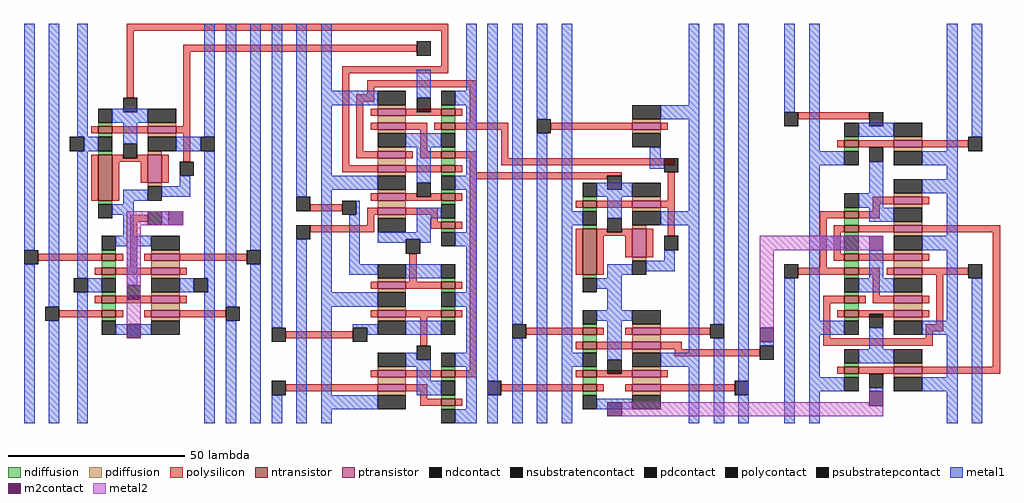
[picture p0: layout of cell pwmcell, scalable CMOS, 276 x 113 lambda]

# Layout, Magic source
magic
tech scmos
<< polysilicon >>
rect 35 120 126 122
rect 35 101 37 120
rect 51 114 117 116
rect 51 93 53 114
rect 124 110 126 120
rect 96 108 126 110
rect 96 82 98 108
rect 134 92 143 94
rect 141 84 143 92
rect 141 82 190 84
rect 96 80 104 82
rect 134 79 175 80
rect 134 78 171 79
rect 262 63 282 65
rect 188 30 192 32
rect 190 28 214 30
rect 280 25 282 63
rect 262 23 282 25
<< metal1 >>
rect 6 98 9 122
rect 13 98 16 122
rect 21 98 24 122
rect 57 98 60 122
rect 63 98 66 122
rect 70 98 73 122
rect 76 106 79 122
rect 83 106 86 122
rect 90 106 93 122
rect 117 101 121 109
rect 131 106 134 122
rect 137 99 140 122
rect 144 99 147 122
rect 151 99 154 122
rect 158 99 161 122
rect 194 99 197 122
rect 201 99 204 122
rect 208 99 211 122
rect 221 97 224 122
rect 228 97 231 122
rect 267 97 270 122
rect 274 97 277 122
rect 6 9 9 34
rect 13 9 16 34
rect 21 9 24 34
rect 57 9 60 34
rect 63 9 66 34
rect 70 9 73 34
rect 214 31 218 32
rect 137 9 140 31
rect 144 9 147 31
rect 151 9 154 31
rect 158 9 161 31
rect 194 9 197 31
rect 201 9 204 31
rect 208 9 211 31
rect 221 9 224 31
rect 228 22 231 31
rect 245 29 249 36
rect 228 18 238 22
rect 267 22 270 31
rect 245 18 249 19
rect 260 18 270 22
rect 228 9 231 18
rect 267 9 270 18
rect 274 9 277 31
<< metal2 >>
rect 35 65 51 69
rect 35 37 39 65
rect 214 58 249 62
rect 214 36 218 58
rect 175 14 245 15
rect 175 11 249 14
<< polycontact >>
rect 34 97 38 101
rect 117 113 121 117
rect 117 97 121 101
rect 171 75 175 79
rect 245 36 249 40
rect 214 27 218 31
rect 245 19 249 23
<< m2contact >>
rect 35 33 39 37
rect 214 32 218 36
rect 171 11 175 15
rect 245 14 249 18
use regbit  regbit_0
transform 1 0 29 0 -1 69
box -23 -29 44 36
use cmpbit  cmpbit_0
transform -1 0 134 0 1 75
box 0 -66 58 31
use pwmaccumbit  pwmaccumbit_0
transform 1 0 181 0 -1 34
box -44 -65 30 21
use incbit  incbit_0
transform 1 0 232 0 -1 62
box -11 -35 45 31
use inverter  inverter_0
transform 0 1 231 1 0 23
box -5 5 7 31
<< end >>

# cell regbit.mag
magic
tech scmos
<< polysilicon >>
rect -13 28 -3 30
rect 23 28 34 30
rect 7 25 9 26
rect -19 12 -3 14
rect 7 3 9 18
rect 23 12 40 14
rect 7 1 12 3
<< metal1 >>
rect -23 15 -20 35
rect -16 31 -13 35
rect -23 -29 -20 11
rect -16 -29 -13 27
rect -8 23 -5 35
rect 6 32 10 36
rect -5 19 -1 23
rect 28 23 31 35
rect -8 -17 -5 19
rect 6 10 9 21
rect 21 19 25 23
rect 29 19 31 23
rect 5 7 9 10
rect 5 1 8 7
rect 16 0 18 4
rect 28 -17 31 19
rect -6 -21 -2 -17
rect 26 -21 27 -17
rect -8 -29 -5 -21
rect 28 -29 31 -21
rect 34 31 37 35
rect 34 -29 37 27
rect 41 15 44 35
rect 41 -29 44 11
<< polycontact >>
rect -17 27 -13 31
rect 34 27 38 31
rect 6 21 10 25
rect -23 11 -19 15
rect 40 11 44 15
rect 12 0 16 4
<< m2contact >>
rect 18 0 22 4
<< psubstratepcontact >>
rect -9 19 -5 23
rect -10 -21 -6 -17
<< nsubstratencontact >>
rect 25 19 29 23
rect 27 -21 31 -17
use latch  outlatch
transform 0 1 -1 1 0 25
box -6 -2 10 24
use latch  inlatch
transform 0 1 -1 -1 0 17
box -6 -2 10 24
use staticizer  staticizer_0
transform 0 1 -6 -1 0 -17
box -19 2 12 32
<< labels >>
rlabel m2contact 18 0 22 4 1 in
rlabel metal1 6 32 10 36 5 out
rlabel metal1 -8 32 -5 35 5 GND
rlabel metal1 28 32 31 35 5 Vdd
rlabel metal1 34 32 37 35 5 r_
rlabel metal1 41 32 44 35 6 w_
rlabel metal1 -23 32 -20 35 4 w
rlabel metal1 -16 32 -13 35 5 r
<< end >>

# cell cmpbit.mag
magic
tech scmos
<< polysilicon >>
rect 14 29 16 31
rect 14 21 16 23
rect 28 17 30 19
rect 0 9 4 11
rect 0 -51 2 9
rect 28 5 30 7
rect 4 -3 6 -1
rect 10 -2 13 -1
rect 17 -2 20 -1
rect 10 -3 20 -2
rect 28 -3 30 -1
rect 11 -7 20 -5
rect 28 -7 31 -5
rect 38 -6 47 -4
rect 11 -9 13 -7
rect 4 -11 6 -9
rect 10 -11 13 -9
rect 29 -10 31 -7
rect 29 -12 47 -10
rect 17 -26 19 -18
rect 14 -44 16 -36
rect 35 -42 54 -40
rect 0 -53 6 -51
rect 10 -53 20 -51
rect 28 -53 30 -51
rect 14 -57 20 -55
rect 28 -57 54 -55
rect 14 -59 16 -57
rect 4 -61 6 -59
rect 10 -61 16 -59
<< ndiffusion >>
rect 6 -1 10 0
rect 6 -4 10 -3
rect 6 -9 10 -8
rect 6 -12 10 -11
rect 6 -51 10 -50
rect 6 -54 10 -53
rect 6 -59 10 -58
rect 6 -62 10 -61
<< pdiffusion >>
rect 20 -1 28 0
rect 20 -5 28 -3
rect 20 -8 28 -7
rect 20 -51 28 -50
rect 20 -55 28 -53
rect 20 -58 28 -57
<< metal1 >>
rect 0 28 3 31
rect 41 28 44 31
rect 0 24 6 28
rect 28 24 44 28
rect 0 4 3 24
rect 0 0 6 4
rect 13 2 17 12
rect 41 4 44 24
rect 0 -12 3 0
rect 28 0 44 4
rect 10 -8 17 -5
rect 33 -7 34 -3
rect 13 -12 17 -8
rect 0 -16 6 -12
rect 13 -14 28 -12
rect 13 -15 16 -14
rect 0 -29 3 -16
rect 20 -15 28 -14
rect 33 -21 36 -7
rect 28 -24 36 -21
rect 41 -29 44 0
rect 48 -2 51 31
rect 0 -33 6 -29
rect 28 -33 44 -29
rect 0 -46 3 -33
rect 28 -39 35 -38
rect 28 -41 31 -39
rect 0 -50 6 -46
rect 17 -48 20 -46
rect 13 -50 20 -48
rect 0 -62 3 -50
rect 13 -54 17 -50
rect 10 -58 17 -54
rect 41 -58 44 -33
rect 28 -62 44 -58
rect 0 -66 6 -62
rect 41 -66 44 -62
rect 48 -66 51 -14
rect 55 -39 58 31
rect 55 -66 58 -58
<< ntransistor >>
rect 6 -3 10 -1
rect 6 -11 10 -9
rect 6 -53 10 -51
rect 6 -61 10 -59
<< ptransistor >>
rect 20 -3 28 -1
rect 20 -7 28 -5
rect 20 -53 28 -51
rect 20 -57 28 -55
<< polycontact >>
rect 13 -2 17 2
rect 34 -7 38 -3
rect 47 -6 51 -2
rect 47 -14 51 -10
rect 16 -18 20 -14
rect 31 -43 35 -39
rect 54 -43 58 -39
rect 13 -48 17 -44
rect 54 -58 58 -54
<< ndcontact >>
rect 6 0 10 4
rect 6 -8 10 -4
rect 6 -16 10 -12
rect 6 -50 10 -46
rect 6 -58 10 -54
rect 6 -66 10 -62
<< pdcontact >>
rect 20 -12 28 -8
rect 20 -50 28 -46
rect 20 -62 28 -58
use xor  xor_0
transform 1 0 6 0 1 0
box -6 0 28 31
use inverter  inverter_0
transform 0 1 -1 1 0 -28
box -5 5 7 31
use inverter  inverter_1
transform 0 1 -1 -1 0 -34
box -5 5 7 31
<< labels >>
rlabel metal1 0 28 3 31 4 GND
rlabel metal1 41 28 44 31 5 Vdd
rlabel metal1 48 28 51 31 5 eqout_
rlabel metal1 55 28 58 31 6 zout_
rlabel metal1 55 -66 58 -63 8 zin_
rlabel metal1 48 -66 51 -63 1 eqin_
rlabel polysilicon 15 30 15 30 5 cnt_
rlabel polysilicon 29 18 29 18 1 cnt
rlabel polysilicon 15 22 15 22 1 cmp_
rlabel polysilicon 29 6 29 6 1 cmp
<< end >>

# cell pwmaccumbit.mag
magic
tech scmos
<< polysilicon >>
rect -40 14 -19 16
rect 7 14 26 16
rect 5 2 7 4
rect -33 -2 -19 0
rect 7 -2 19 0
rect 7 -46 9 -38
rect -26 -60 -3 -58
rect 5 -60 7 -58
<< pdiffusion >>
rect -3 -58 5 -57
rect -3 -61 5 -60
<< metal1 >>
rect -44 17 -41 21
rect -44 -65 -41 13
rect -37 1 -34 21
rect -37 -65 -34 -3
rect -30 -57 -27 21
rect -23 9 -20 21
rect -9 18 -7 21
rect -23 5 -17 9
rect 13 9 16 21
rect -23 -31 -20 5
rect -10 -20 -6 7
rect 5 5 16 9
rect 6 -21 9 -18
rect 13 -31 16 5
rect 20 1 23 21
rect 27 17 30 21
rect -23 -35 -17 -31
rect 11 -35 16 -31
rect -30 -65 -27 -61
rect -23 -65 -20 -35
rect -10 -43 -6 -39
rect 2 -50 6 -47
rect 2 -53 5 -50
rect 13 -61 16 -35
rect 5 -65 16 -61
rect 20 -65 23 -3
rect 27 -65 30 13
<< ptransistor >>
rect -3 -60 5 -58
<< polycontact >>
rect -44 13 -40 17
rect 26 13 30 17
rect -10 7 -6 11
rect -37 -3 -33 1
rect 19 -3 23 1
rect 6 -50 10 -46
rect -30 -61 -26 -57
<< pdcontact >>
rect -3 -57 5 -53
rect -3 -65 5 -61
use latch  latch_1
transform 0 1 -17 1 0 11
box -6 -2 10 24
use latch  latch_0
transform 0 1 -17 -1 0 3
box -6 -2 10 24
use staticizer  staticizer_0
transform 0 1 -21 -1 0 -31
box -19 2 12 32
<< labels >>
rlabel metal1 -10 -43 -6 -39 1 cnt
rlabel metal1 -9 18 -7 21 5 out
rlabel polysilicon 5 2 7 4 7 in
rlabel metal1 -23 18 -20 21 5 GND
rlabel metal1 13 18 16 21 5 Vdd
rlabel metal1 20 18 23 21 5 w_
rlabel metal1 -30 18 -27 21 5 reset
rlabel metal1 -37 18 -34 21 5 w
rlabel metal1 -44 18 -41 21 4 r
rlabel metal1 27 18 30 21 6 r_
rlabel metal1 6 -21 9 -18 1 cnt_
<< end >>

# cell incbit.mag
magic
tech scmos
<< polysilicon >>
rect 14 21 16 23
rect -7 9 4 11
rect 32 9 41 11
rect -1 -5 1 9
rect 3 -1 5 7
rect 3 -3 6 -1
rect 10 -3 20 -1
rect 28 -3 30 -1
rect -1 -7 6 -5
rect 10 -7 16 -5
rect 14 -9 16 -7
rect 14 -11 20 -9
rect 28 -11 30 -9
rect 30 -27 41 -25
rect -7 -35 13 -33
<< ndiffusion >>
rect 6 -1 10 0
rect 6 -5 10 -3
rect 6 -8 10 -7
<< pdiffusion >>
rect 20 -1 28 0
rect 20 -4 28 -3
rect 20 -9 28 -8
rect 20 -12 28 -11
<< metal1 >>
rect -11 12 -8 31
rect -4 28 -1 31
rect 35 28 38 31
rect -4 24 6 28
rect 28 24 38 28
rect -4 4 -1 24
rect 13 4 17 12
rect 35 4 38 24
rect 42 12 45 31
rect -4 0 6 4
rect 28 0 38 4
rect -4 -20 -1 0
rect 13 -8 20 -4
rect 10 -12 17 -8
rect 35 -12 38 0
rect -4 -24 6 -20
rect 13 -21 17 -12
rect 28 -16 38 -12
rect 35 -20 38 -16
rect -4 -35 -1 -24
rect 28 -24 38 -20
rect 35 -35 38 -24
rect 42 -35 45 -28
<< ntransistor >>
rect 6 -3 10 -1
rect 6 -7 10 -5
<< ptransistor >>
rect 20 -3 28 -1
rect 20 -11 28 -9
<< polycontact >>
rect -11 8 -7 12
rect 41 8 45 12
rect 13 -25 17 -21
rect 41 -28 45 -24
rect -11 -35 -7 -31
rect 13 -35 17 -31
<< ndcontact >>
rect 6 0 10 4
rect 6 -12 10 -8
<< pdcontact >>
rect 20 0 28 4
rect 20 -8 28 -4
rect 20 -16 28 -12
<< m2contact >>
rect 13 0 17 4
use xor  xor_0
transform 1 0 6 0 1 0
box -6 0 28 31
use inverter  inverter_0
transform 0 1 -1 -1 0 -25
box -5 5 7 31
<< labels >>
rlabel polycontact -11 -35 -8 -32 2 cout
rlabel m2contact 13 0 17 4 1 s
rlabel metal1 -11 28 -8 31 4 cin
rlabel metal1 42 28 45 31 6 cin_
rlabel metal1 35 28 38 31 5 Vdd
rlabel metal1 -4 28 -1 31 5 GND
rlabel polysilicon 14 21 16 23 1 a_
rlabel polysilicon 3 5 5 7 1 a
rlabel metal1 42 -35 45 -32 8 cout_
<< end >>

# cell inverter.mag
magic
tech scmos
<< polysilicon >>
rect 0 29 2 31
rect 0 11 2 21
rect 0 5 2 7
<< ndiffusion >>
rect -1 7 0 11
rect 2 7 3 11
<< pdiffusion >>
rect -1 21 0 29
rect 2 21 3 29
<< metal1 >>
rect 3 11 7 21
<< ntransistor >>
rect 0 7 2 11
<< ptransistor >>
rect 0 21 2 29
<< ndcontact >>
rect -5 7 -1 11
rect 3 7 7 11
<< pdcontact >>
rect -5 21 -1 29
rect 3 21 7 29
<< labels >>
rlabel metal1 5 16 5 16 7 out
<< end >>

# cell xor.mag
magic
tech scmos
<< polysilicon >>
rect -6 29 25 31
rect -6 19 -4 29
rect 23 27 25 29
rect 23 25 28 27
rect -2 21 0 23
rect 4 21 14 23
rect 22 21 24 23
rect -6 17 0 19
rect 4 17 6 19
rect 8 17 14 19
rect 22 17 24 19
rect 8 11 10 17
rect 26 11 28 25
rect -2 9 0 11
rect 4 9 10 11
rect 12 9 14 11
rect 22 9 28 11
rect -2 5 0 7
rect 4 5 14 7
rect 22 5 24 7
<< ndiffusion >>
rect 0 23 4 24
rect 0 19 4 21
rect 0 16 4 17
rect 0 11 4 12
rect 0 7 4 9
rect 0 4 4 5
<< pdiffusion >>
rect 14 23 22 24
rect 14 19 22 21
rect 14 16 22 17
rect 14 11 22 12
rect 14 7 22 9
rect 14 4 22 5
<< metal1 >>
rect 4 12 14 16
<< ntransistor >>
rect 0 21 4 23
rect 0 17 4 19
rect 0 9 4 11
rect 0 5 4 7
<< ptransistor >>
rect 14 21 22 23
rect 14 17 22 19
rect 14 9 22 11
rect 14 5 22 7
<< ndcontact >>
rect 0 24 4 28
rect 0 12 4 16
rect 0 0 4 4
<< pdcontact >>
rect 14 24 22 28
rect 14 12 22 16
rect 14 0 22 4
<< labels >>
rlabel polysilicon -1 22 -1 22 3 a
rlabel polysilicon -1 10 -1 10 3 b
rlabel polysilicon -1 6 -1 6 3 a_
rlabel polysilicon -1 18 -1 18 3 b_
rlabel metal1 9 14 9 14 1 out
<< end >>

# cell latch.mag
magic
tech scmos
<< polysilicon >>
rect -1 22 1 24
rect 3 22 5 24
rect -1 4 1 14
rect 3 12 5 14
rect 3 4 5 6
rect -1 -2 1 0
rect 3 -2 5 0
<< ndiffusion >>
rect -2 0 -1 4
rect 1 0 3 4
rect 5 0 6 4
<< pdiffusion >>
rect -2 14 -1 22
rect 1 14 3 22
rect 5 14 6 22
<< metal1 >>
rect 7 4 10 14
<< ntransistor >>
rect -1 0 1 4
rect 3 0 5 4
<< ptransistor >>
rect -1 14 1 22
rect 3 14 5 22
<< ndcontact >>
rect -6 0 -2 4
rect 6 0 10 4
<< pdcontact >>
rect -6 14 -2 22
rect 6 14 10 22
<< labels >>
rlabel polysilicon 3 22 5 24 5 latch_
rlabel polysilicon 3 -2 5 0 1 latch
rlabel pdcontact -6 14 -2 22 3 Vdd
rlabel ndcontact -6 0 -2 4 2 GND
rlabel polysilicon -1 8 1 10 1 in
rlabel metal1 7 8 10 10 7 out
<< end >>

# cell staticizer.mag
magic
tech scmos
<< polysilicon >>
rect -3 28 7 30
rect -9 22 -1 24
rect -9 16 -1 18
rect -3 15 -1 16
rect -3 11 -2 15
rect -3 10 -1 11
rect -14 8 -1 10
rect -14 2 -1 4
<< ndiffusion >>
rect -15 4 -14 8
rect -1 4 0 8
<< pdiffusion >>
rect -10 18 -9 22
rect -1 18 0 22
<< metal1 >>
rect -13 27 -7 30
rect -13 22 -10 27
rect 0 26 4 32
rect -14 14 -11 18
rect -18 11 -11 14
rect 2 11 12 15
rect -18 8 -15 11
<< ntransistor >>
rect -14 4 -1 8
<< ptransistor >>
rect -9 18 -1 22
<< polycontact >>
rect -7 27 -3 31
rect -2 11 2 15
<< ndcontact >>
rect -19 4 -15 8
rect 0 4 4 8
<< pdcontact >>
rect -14 18 -10 22
rect 0 18 4 26
use inverter  inverter_0
transform 1 0 5 0 1 -3
box -5 5 7 31
<< labels >>
rlabel metal1 0 28 4 32 5 Vdd
rlabel ndcontact 0 4 4 8 1 GND
rlabel polycontact -7 27 -3 31 5 in
<< end >>
